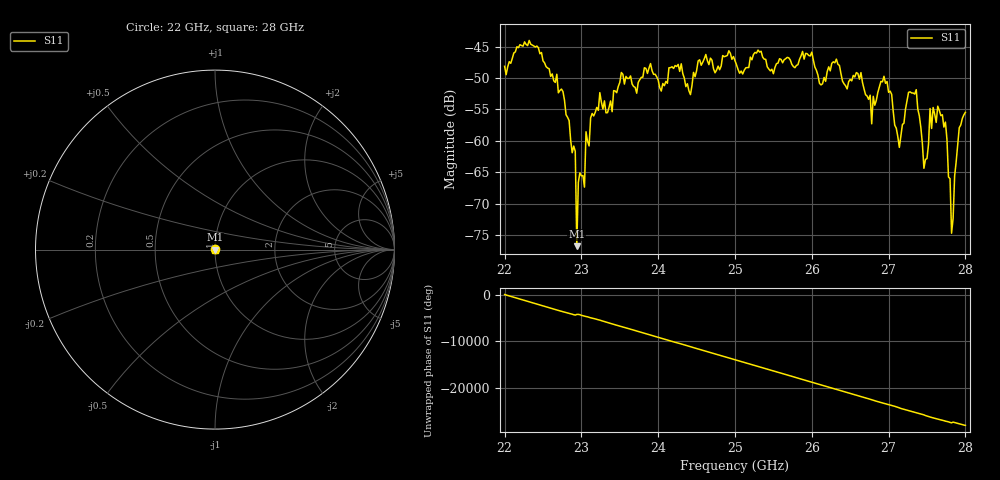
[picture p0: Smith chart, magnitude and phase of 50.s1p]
#  HZ  S  RI  R  50.00
! Rohde & Schwarz ZVA40 4Ports - Version 3.90 - 1145.1110k42 SN: 100403
! Date: 2023-10-04 10:43:15
! Measurement: S12
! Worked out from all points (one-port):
!   301 points, 22 GHz to 28 GHz, reference 50 ohm
!   lowest |S11| = -76.7 dB at 22.94 GHz (marker M1), VSWR 1.00, Z = 50 + j0.0137 ohm
!   |S11| at or under -10 dB: start of sweep to end of sweep
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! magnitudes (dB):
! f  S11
! 22 GHz  -48.1
! 22.32 GHz  -44.0
! 22.76 GHz  -52.2
! 22.92 GHz  -61.6
! 22.94 GHz  -76.7
! 22.96 GHz  -66.6
! 23.04 GHz  -67.3
! 23.06 GHz  -58.5
! 23.5 GHz  -50.7
! 24.26 GHz  -47.8
! 24.42 GHz  -52.6
! 24.62 GHz  -46.3
! 25 GHz  -47.2
! 25.76 GHz  -48.2
! 26.5 GHz  -50.2
! 26.64 GHz  -49.1
! 26.78 GHz  -57.3
! 26.94 GHz  -49.7
! 27.14 GHz  -61.0
! 27.26 GHz  -52.3
! 27.36 GHz  -51.9
! 27.46 GHz  -64.3
! 27.54 GHz  -54.8
! 27.74 GHz  -57.0
! 27.8 GHz  -66.0
! 27.82 GHz  -74.7
! 27.92 GHz  -57.9
! 28 GHz  -55.5
